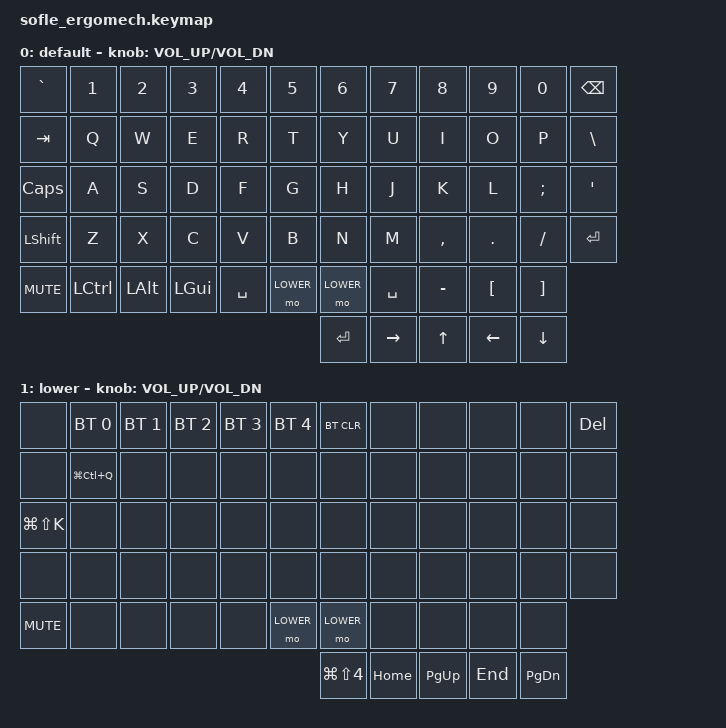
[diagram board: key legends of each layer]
/*
 * Copyright (c) 2020 The ZMK Contributors
 *
 * SPDX-License-Identifier: MIT
 */

#include <behaviors.dtsi>
#include <dt-bindings/zmk/bt.h>
#include <dt-bindings/zmk/ext_power.h>
#include <dt-bindings/zmk/keys.h>
#include <dt-bindings/zmk/rgb.h>

#define BASE 0
#define LOWER 1
#define RAISE 2
#define ADJUST 3

/ {
    // Activate ADJUST layer by pressing raise and lower

    conditional_layers {
        compatible = "zmk,conditional-layers";

        adjust_layer {
            if-layers = <LOWER RAISE>;
            then-layer = <ADJUST>;
        };
    };

    keymap {
        compatible = "zmk,keymap";

        default_layer {
            label = "default";

            // ------------------------------------------------------------------------------------------------------------
            // |   `   |  1  |  2  |  3   |  4   |  5   |                   |  6   |  7    |  8    |  9   |   0   | BSPC  |
            // |  TAB  |  Q  |  W  |  E   |  R   |  T   |                   |  Y   |  U    |  I    |  O   |   P   | BSLH  |
            // |  CAPS |  A  |  S  |  D   |  F   |  G   |                   |  H   |  J    |  K    |  L   |   ;   |   '   |
            // | SHIFT |  Z  |  X  |  C   |  V   |  B   |  MUTE  |  |       |  N   |  M    |  ,    |  .   |   /   | ENTER |
            //               | CTRL| ALT  | GUI  | SPACE|  LOWER |  | LOWER | SPACE| MINUS | LBKT  | RBKT |

            bindings = <
&kp GRAVE   &kp N1    &kp N2    &kp N3     &kp N4     &kp N5     &kp N6     &kp N7     &kp N8        &kp N9    &kp N0    &kp BSPC
&kp TAB     &kp Q     &kp W     &kp E      &kp R      &kp T      &kp Y      &kp U      &kp I         &kp O     &kp P     &kp BSLH
&kp CAPS    &kp A     &kp S     &kp D      &kp F      &kp G      &kp H      &kp J      &kp K         &kp L     &kp SEMI  &kp SQT
&kp LSHFT   &kp Z     &kp X     &kp C      &kp V      &kp B      &kp N      &kp M      &kp COMMA     &kp DOT   &kp FSLH  &kp ENTER
&kp C_MUTE  &kp LCTRL &kp LALT  &kp LGUI   &kp SPACE  &mo LOWER  &mo LOWER  &kp SPACE  &kp MINUS     &kp LBKT  &kp RBKT
                                                               &kp ENTER  &kp RIGHT  &kp UP  &kp LEFT  &kp DOWN
            >;

            sensor-bindings = <&inc_dec_kp C_VOL_UP C_VOL_DN>;
        };

        lower_layer {
            label = "lower";

            // ------------------------------------------------------------------------------------------------------------
            // |       | BT1  | BT2  |  BT3  |  BT4  |  BT5 |                | BTCLR|      |       |      |       |  DEL  |
            // |       | LOCK |      |       |       |      |                |      |      |       |      |       |       |
            // | sCAPS |      |      |       |       |      |                |      |      |       |      |       |       |
            // |       |      |      |       |       |      | MUTE |  | SCRN |      |      |       |      |       |       |
            //                |      |       |       |      |      |  |      |      |      |       |      |

            bindings = <
&none         &bt BT_SEL 0  &bt BT_SEL 1  &bt BT_SEL 2  &bt BT_SEL 3  &bt BT_SEL 4  &bt BT_CLR      &none     &none      &none    &none   &kp DEL
&none         &kp LG(LC(Q)) &none         &none         &none         &none         &none           &none     &none      &none    &none   &none
&kp LG(LS(K)) &none         &none         &none         &none         &none         &none           &none     &none      &none    &none   &none
&none         &none         &none         &none         &none         &none         &none           &none     &none      &none    &none   &none
&kp C_MUTE    &none         &none         &none         &none         &mo LOWER     &mo LOWER           &none     &none      &none    &none
                                                                                    &kp LG(LS(N4))  &kp HOME  &kp PG_UP  &kp END  &kp PG_DN
            >;

            sensor-bindings = <&inc_dec_kp C_VOL_UP C_VOL_DN>;
        };
    };
};
